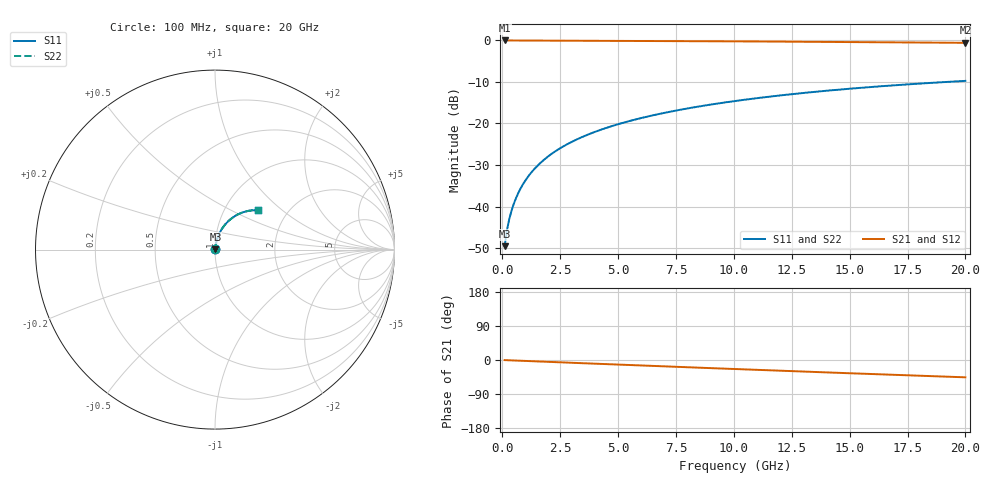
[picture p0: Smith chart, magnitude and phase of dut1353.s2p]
! Touchstone file exported from HFSS 2026.1.0
!  File:  C:/ffzhzh/LocalFiles/Ansys_Project_Files/temp_train_BSMRDL_1353_1783179067_18472.aedt
!  Generated:  11:32:21 PM Jul  4, 2026
!  Design:  BSMRDL
!  Project:  temp_train_BSMRDL_1353_1783179067_18472
! Variables:
!  h_bsmrdl = 4.45um
!  h_ox = 20um
!  h_rdl = 5um
!  h_sub = 80um
!  h_tmrdl = 5um
!  h_tsv = 80um
!  h_via = 3um
!  l_bsmrdl = 724.38um
!  l_sub = 1124.38um
!  l_tmrdl = 200um
!  m_sub = 200um
!  pitch = 47.39um
!  r_tsv = 6um
!  s_tmrdl = 10um
!  w_bsmrdl = 26.63um
!  w_sub = 500um
!  w_tmrdl = 12um
!  x_tsv_center1 = 206um
!  x_tsv_center2 = 957.01um
!  x_tsv_center3 = 1169.01um
!  x_tsv_center4 = 1920.02um
!  x_tsv_center5 = 2132.02um
!  x_tsv_center6 = 2883.03um
# GHz S MA R 50.000000
! Terminal data exported
! Port[1] = BSM_RDL1_1_T1
! Port[2] = BSM_RDL1_1_T2
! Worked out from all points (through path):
!   200 points, 100 MHz to 20 GHz, reference 50 ohm
!   highest |S21| = -0.02 dB at 100 MHz (marker M1); lowest = -0.6 dB at 20 GHz (marker M2)
!   group delay of S21, straight-line fit = 6.35 ps
!   lowest |S11| = -49.5 dB at 100 MHz (marker M3), VSWR 1.01, Z = 50.2 + j0.232 ohm
!   |S11| at or under -10 dB: start of sweep to 19.2 GHz
!   |S22| runs from -49.5 to -9.7 dB; largest |S21 - S12| = 4.6e-15
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0.1  0.00334 43.7  0.9976 -0.3  0.9976 -0.3  0.00334 43.7
! Gamma 0 0 0 0
! Port Impedance 50 0 50 0
0.2  0.005168 59.0  0.9974 -0.5  0.9974 -0.5  0.005168 59.0
0.3  0.00705 65.9  0.9972 -0.8  0.9972 -0.8  0.00705 65.9
0.4  0.008947 70.1  0.9971 -1.0  0.9971 -1.0  0.008947 70.1
0.5  0.01087 72.8  0.997 -1.2  0.997 -1.2  0.01086 72.8
0.6  0.0128 74.8  0.9969 -1.5  0.9969 -1.5  0.0128 74.8
0.8  0.01673 77.2  0.9967 -2.0  0.9967 -2.0  0.01673 77.2
1.1  0.02267 79.0  0.9965 -2.7  0.9965 -2.7  0.02267 79.0
1.5  0.03062 79.8  0.9961 -3.7  0.9961 -3.7  0.03062 79.8
1.8  0.03657 79.8  0.9957 -4.4  0.9957 -4.4  0.03657 79.8
2.1  0.0425 79.7  0.9952 -5.1  0.9952 -5.1  0.0425 79.7
2.7  0.05427 78.9  0.9943 -6.6  0.9943 -6.6  0.05427 78.9
3.5  0.06973 77.4  0.9927 -8.5  0.9927 -8.5  0.06973 77.4
4.2  0.08303 76.0  0.9911 -10.2  0.9911 -10.2  0.08303 76.0
5  0.09798 74.3  0.9891 -12.1  0.9891 -12.1  0.09798 74.4
5.9  0.1145 72.4  0.9867 -14.2  0.9867 -14.2  0.1145 72.4
6.8  0.1307 70.5  0.9842 -16.3  0.9842 -16.3  0.1307 70.5
8.3  0.1569 67.2  0.9795 -19.8  0.9795 -19.8  0.1569 67.2
10.1  0.1871 63.3  0.9734 -24.0  0.9734 -24.0  0.1871 63.3
13.4  0.2388 56.2  0.961 -31.4  0.961 -31.4  0.2388 56.2
16.7  0.2851 49.2  0.9477 -38.7  0.9477 -38.7  0.2851 49.2
20  0.3255 42.3  0.9342 -45.7  0.9342 -45.7  0.3255 42.4
